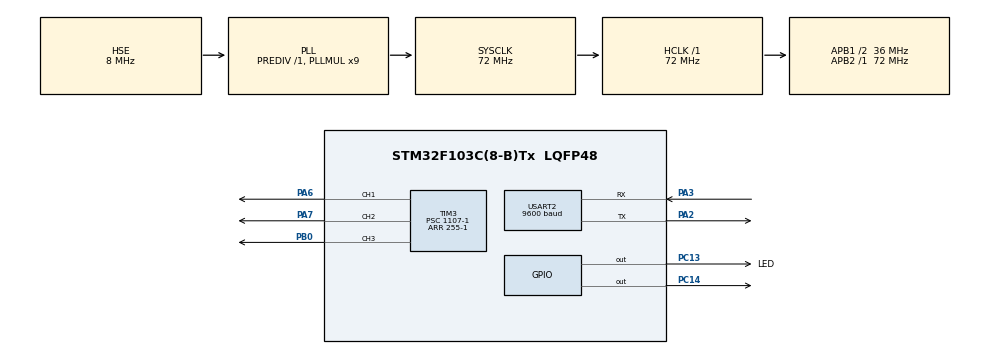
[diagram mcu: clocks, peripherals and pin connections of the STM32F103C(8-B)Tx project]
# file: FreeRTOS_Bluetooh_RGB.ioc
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FREERTOS.Tasks01=defaultTask,24,128,StartDefaultTask,Default,NULL,Dynamic,NULL,NULL;my_RGB_Task,8,128,Start_RGB_Task,Default,NULL,Dynamic,NULL,NULL;my_Bluetooth_Ta,8,128,Start_Bluetooth_Task,Default,NULL,Dynamic,NULL,NULL
Mcu.Family=STM32F1
Mcu.Name=STM32F103C(8-B)Tx
Mcu.Package=LQFP48
NVIC.PriorityGroup=NVIC_PRIORITYGROUP_4
NVIC.TIM4_IRQn=true\:0\:0\:false\:false\:true\:false\:false\:true
NVIC.TimeBase=TIM4_IRQn
NVIC.TimeBaseIP=TIM4
NVIC.USART2_IRQn=true\:5\:0\:false\:false\:true\:true\:true\:true
PA13.Mode=Trace_Asynchronous_SW
PA13.Signal=SYS_JTMS-SWDIO
PA14.Mode=Trace_Asynchronous_SW
PA14.Signal=SYS_JTCK-SWCLK
PA2.Mode=Asynchronous
PA2.Signal=USART2_TX
PA3.Mode=Asynchronous
PA3.Signal=USART2_RX
PA6.Signal=S_TIM3_CH1
PA7.Signal=S_TIM3_CH2
PB0.Signal=S_TIM3_CH3
PB3.Mode=Trace_Asynchronous_SW
PB3.Signal=SYS_JTDO-TRACESWO
PC13-TAMPER-RTC.GPIO_Label=LED
PC13-TAMPER-RTC.Signal=GPIO_Output
PC14-OSC32_IN.GPIO_Speed=GPIO_SPEED_FREQ_MEDIUM
PC14-OSC32_IN.Signal=GPIO_Output
PD0-OSC_IN.Mode=HSE-External-Oscillator
PD0-OSC_IN.Signal=RCC_OSC_IN
PD1-OSC_OUT.Mode=HSE-External-Oscillator
PD1-OSC_OUT.Signal=RCC_OSC_OUT
ProjectManager.HeapSize=0x200
ProjectManager.StackSize=0x400
ProjectManager.TargetToolchain=STM32CubeIDE
RCC.AHBFreq_Value=72000000
RCC.APB1CLKDivider=RCC_HCLK_DIV2
RCC.APB1Freq_Value=36000000
RCC.APB1TimFreq_Value=72000000
RCC.APB2Freq_Value=72000000
RCC.APB2TimFreq_Value=72000000
RCC.HCLKFreq_Value=72000000
RCC.PLLMUL=RCC_PLL_MUL9
RCC.PLLSourceVirtual=RCC_PLLSOURCE_HSE
RCC.SYSCLKFreq_VALUE=72000000
RCC.SYSCLKSource=RCC_SYSCLKSOURCE_PLLCLK
RCC.USBFreq_Value=72000000
SH.S_TIM3_CH1.0=TIM3_CH1,PWM Generation1 CH1
SH.S_TIM3_CH2.0=TIM3_CH2,PWM Generation2 CH2
SH.S_TIM3_CH3.0=TIM3_CH3,PWM Generation3 CH3
TIM3.Channel-PWM\ Generation1\ CH1=TIM_CHANNEL_1
TIM3.Channel-PWM\ Generation2\ CH2=TIM_CHANNEL_2
TIM3.Channel-PWM\ Generation3\ CH3=TIM_CHANNEL_3
TIM3.Period=255-1
TIM3.Prescaler=1107-1
USART2.BaudRate=9600
USART2.VirtualMode=VM_ASYNC
VP_FREERTOS_VS_CMSIS_V2.Mode=CMSIS_V2
VP_SYS_VS_tim4.Mode=TIM4
VP_TIM3_VS_ClockSourceINT.Mode=Internal
board=custom

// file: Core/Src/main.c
/* USER CODE BEGIN Header */
/**
 ******************************************************************************
 * @file           : main.c
 * @brief          : Main program body
 ******************************************************************************
 * @attention
 *
 * <h2><center>&copy; Copyright (c) 2021 STMicroelectronics.
 * All rights reserved.</center></h2>
 *
 * This software component is licensed by ST under BSD 3-Clause license,
 * the "License"; You may not use this file except in compliance with the
 * License. You may obtain a copy of the License at:
 *                        opensource.org/licenses/BSD-3-Clause
 *
 ******************************************************************************
 */
/* USER CODE END Header */
#include "main.h"
#include "cmsis_os.h"

/* USER CODE BEGIN Includes */
#include <string.h> // Подключим библиотеку для работы со строками.
#include <stdio.h> /* для printf */
int brightness;
#include <stdlib.h> // Что бы не писало предупреждение в 117 строке (перевод из str в int)!
/* USER CODE END Includes */

TIM_HandleTypeDef htim3;

UART_HandleTypeDef huart2;

/* Definitions for defaultTask */
osThreadId_t defaultTaskHandle;
const osThreadAttr_t defaultTask_attributes = { .name = "defaultTask",
		.priority = (osPriority_t) osPriorityNormal, .stack_size = 128 * 4 };
/* Definitions for my_RGB_Task */
osThreadId_t my_RGB_TaskHandle;
const osThreadAttr_t my_RGB_Task_attributes = { .name = "my_RGB_Task",
		.priority = (osPriority_t) osPriorityLow, .stack_size = 128 * 4 };
/* Definitions for my_Bluetooth_Ta */
osThreadId_t my_Bluetooth_TaHandle;
const osThreadAttr_t my_Bluetooth_Ta_attributes = { .name = "my_Bluetooth_Ta",
		.priority = (osPriority_t) osPriorityLow, .stack_size = 128 * 4 };
/* USER CODE BEGIN PV */
/* -------------------for Bluetooth----------------------------*/
char str1[60] = { 0 };  // Создадим строковую переменную

typedef struct USART_prop { // Создадим структуру
	uint8_t usart_buf[60];
	uint8_t usart_cnt;
	uint8_t is_tcp_connect; //статус попытки создать соединение TCP с сервером
	uint8_t is_text; //статус попытки передать текст серверу
} USART_prop_ptr;
USART_prop_ptr usartprop;
//***Добавим гл. переменную для счётчика выводимых в модуль строк, и массив этих самых строк ***//
uint8_t i = 0;
char *str2[] = { "String1\r\n", "String2\r\n", "String3\r\n", "String4\r\n",
		"String5\r\n" };
/* USER CODE END PV */

void SystemClock_Config(void);
static void MX_GPIO_Init(void);
static void MX_USART2_UART_Init(void);
static void MX_TIM3_Init(void);
void StartDefaultTask(void *argument);
void Start_RGB_Task(void *argument);
void Start_Bluetooth_Task(void *argument);

/* USER CODE BEGIN 0 */
/*-----------------------------for prinf--------------------------------------*/
int _write(int file, uint8_t *ptr, int len) {
	for (int DataIdx = 0; DataIdx < len; DataIdx++) {
		ITM_SendChar(*ptr++);
	}
	return len;
}
/*-----------------------------for Bluetooth--------------------------------------*/
/*---------Добавим гл. фун-ю которая передает в USAR все, что приходит!--------*/
void string_parse(char *buf_str) //
{
	HAL_UART_Transmit(&huart2, (uint8_t*) buf_str, strlen(buf_str), 0x1000);
	printf("Get message: %s \n", buf_str);
	/*--------------Кусок кода для отладки! Проверка полученных символов---------*/
	int i;
	for (i = 0;; i++) {
		if (buf_str[i] == '\0') { // Перебираем все символы которые получили!
			break;
		}
		printf(" %3d%s", buf_str[i], ""); // Выводим на печать.
	}
	printf("  - This line in ASCII format with all characters! \n");
	/*---------------------------------------------------------------------------*/
	brightness = atoi(buf_str); // перевод str в число
	printf("brightness = %d \n", brightness);
}
/*------------Теперь добавим гл-й обработчик приёма символа из USART---------------------------------------------*/
void UART2_RxCpltCallback(void) // тут подробно https://youtu.be/S4P-lAa4iFQ?t=547
{
	uint8_t b; // Можно не создавать эту переменную!
	b = str1[0]; // Принимаем один байт и записываем в переменную "b".
	//если вдруг случайно превысим длину буфера
	if (usartprop.usart_cnt > 59) {
		usartprop.usart_cnt = 0; // то, обнуляем счетчик
		HAL_UART_Receive_IT(&huart2, (uint8_t*) str1, 1); // И снова даем команду получать данные из UART.
		return; // Выход из функции.
	}
	usartprop.usart_buf[usartprop.usart_cnt] = b; // Если не превышена длинна буфера то присваевыем данный байт к буферу UART.
	if (b == 0x0A) { // Если встретился символ перевода строки то, считаем, что строка закончилась и передаем ее на обработку.(character : \n, Unicode : U+000A, ASCII : 10, hex : 0x0a): This is simply the '\n'
		usartprop.usart_buf[usartprop.usart_cnt + 1] = 0; // В конец строки передаем "ноль" тем самым обозначим конец строки.
		string_parse((char*) usartprop.usart_buf); // передаем троку в "string_parse"
		usartprop.usart_cnt = 0; // Обнуляем счетчик
		HAL_UART_Receive_IT(&huart2, (uint8_t*) str1, 1); // И снова запускаем UART на прием.
		return;
	}
	usartprop.usart_cnt++; // Если не получили символ перевода строки то, наращиваем счетчик и продолжаем получать строки.
	HAL_UART_Receive_IT(&huart2, (uint8_t*) str1, 1); // Снова команда на примем байта.
}
/*-----------------------------for RGB--------------------------------------*/
void rgb_set(uint8_t red, uint8_t green, uint8_t blue) {
	htim3.Instance->CCR1 = 255 - red; // Если у нас RGB с общим катодом то приведи к такому виду htim2.Instance->CCR1 = red;
	htim3.Instance->CCR2 = 255 - green; // Если у нас RGB с общим катодом то приведи к такому виду htim2.Instance->CCR1 = green;
	htim3.Instance->CCR3 = 255 - blue; // Если у нас RGB с общим катодом то приведи к такому виду htim2.Instance->CCR1 = blue;
}
/* USER CODE END 0 */

int main(void) {

	/* MCU Configuration--------------------------------------------------------*/

	/* Reset of all peripherals, Initializes the Flash interface and the Systick. */
	HAL_Init();

	/* Configure the system clock */
	SystemClock_Config();

	/* Initialize all configured peripherals */
	MX_GPIO_Init();
	MX_USART2_UART_Init();
	MX_TIM3_Init();
	/* USER CODE BEGIN 2 */
	/*-----------------------------for Bluetooth--------------------------------------*/
	//************* Инициируем приём данных в USART, а также запустим наш таймер ***************//
	HAL_UART_Receive_IT(&huart2, (uint8_t*) str1, 1);
	//HAL_TIM_Base_Start_IT(&htim2);
	/*-----------------------------for RGB--------------------------------------*/
	HAL_TIM_PWM_Start(&htim3, TIM_CHANNEL_1);
	HAL_TIM_PWM_Start(&htim3, TIM_CHANNEL_2);
	HAL_TIM_PWM_Start(&htim3, TIM_CHANNEL_3);
	/* USER CODE END 2 */

	/* Init scheduler */
	osKernelInitialize();

	/* Create the thread(s) */
	/* creation of defaultTask */
	defaultTaskHandle = osThreadNew(StartDefaultTask, NULL,
			&defaultTask_attributes);

	/* creation of my_RGB_Task */
	my_RGB_TaskHandle = osThreadNew(Start_RGB_Task, NULL,
			&my_RGB_Task_attributes);

	/* creation of my_Bluetooth_Ta */
	my_Bluetooth_TaHandle = osThreadNew(Start_Bluetooth_Task, NULL,
			&my_Bluetooth_Ta_attributes);

	/* Start scheduler */
	osKernelStart();

	/* We should never get here as control is now taken by the scheduler */
	/* Infinite loop */
	while (1) {

	}
}

void SystemClock_Config(void) {
	RCC_OscInitTypeDef RCC_OscInitStruct = { 0 };
	RCC_ClkInitTypeDef RCC_ClkInitStruct = { 0 };

	/** Initializes the RCC Oscillators according to the specified parameters
	 * in the RCC_OscInitTypeDef structure.
	 */
	RCC_OscInitStruct.OscillatorType = RCC_OSCILLATORTYPE_HSE;
	RCC_OscInitStruct.HSEState = RCC_HSE_ON;
	RCC_OscInitStruct.HSEPredivValue = RCC_HSE_PREDIV_DIV1;
	RCC_OscInitStruct.HSIState = RCC_HSI_ON;
	RCC_OscInitStruct.PLL.PLLState = RCC_PLL_ON;
	RCC_OscInitStruct.PLL.PLLSource = RCC_PLLSOURCE_HSE;
	RCC_OscInitStruct.PLL.PLLMUL = RCC_PLL_MUL9;
	if (HAL_RCC_OscConfig(&RCC_OscInitStruct) != HAL_OK) {
		Error_Handler();
	}
	/** Initializes the CPU, AHB and APB buses clocks
	 */
	RCC_ClkInitStruct.ClockType = RCC_CLOCKTYPE_HCLK | RCC_CLOCKTYPE_SYSCLK
			| RCC_CLOCKTYPE_PCLK1 | RCC_CLOCKTYPE_PCLK2;
	RCC_ClkInitStruct.SYSCLKSource = RCC_SYSCLKSOURCE_PLLCLK;
	RCC_ClkInitStruct.AHBCLKDivider = RCC_SYSCLK_DIV1;
	RCC_ClkInitStruct.APB1CLKDivider = RCC_HCLK_DIV2;
	RCC_ClkInitStruct.APB2CLKDivider = RCC_HCLK_DIV1;

	if (HAL_RCC_ClockConfig(&RCC_ClkInitStruct, FLASH_LATENCY_2) != HAL_OK) {
		Error_Handler();
	}
}

static void MX_TIM3_Init(void) {

	TIM_ClockConfigTypeDef sClockSourceConfig = { 0 };
	TIM_MasterConfigTypeDef sMasterConfig = { 0 };
	TIM_OC_InitTypeDef sConfigOC = { 0 };

	htim3.Instance = TIM3;
	htim3.Init.Prescaler = 1107 - 1;
	htim3.Init.CounterMode = TIM_COUNTERMODE_UP;
	htim3.Init.Period = 255 - 1;
	htim3.Init.ClockDivision = TIM_CLOCKDIVISION_DIV1;
	htim3.Init.AutoReloadPreload = TIM_AUTORELOAD_PRELOAD_DISABLE;
	if (HAL_TIM_Base_Init(&htim3) != HAL_OK) {
		Error_Handler();
	}
	sClockSourceConfig.ClockSource = TIM_CLOCKSOURCE_INTERNAL;
	if (HAL_TIM_ConfigClockSource(&htim3, &sClockSourceConfig) != HAL_OK) {
		Error_Handler();
	}
	if (HAL_TIM_PWM_Init(&htim3) != HAL_OK) {
		Error_Handler();
	}
	sMasterConfig.MasterOutputTrigger = TIM_TRGO_RESET;
	sMasterConfig.MasterSlaveMode = TIM_MASTERSLAVEMODE_DISABLE;
	if (HAL_TIMEx_MasterConfigSynchronization(&htim3, &sMasterConfig)
			!= HAL_OK) {
		Error_Handler();
	}
	sConfigOC.OCMode = TIM_OCMODE_PWM1;
	sConfigOC.Pulse = 0;
	sConfigOC.OCPolarity = TIM_OCPOLARITY_HIGH;
	sConfigOC.OCFastMode = TIM_OCFAST_DISABLE;
	if (HAL_TIM_PWM_ConfigChannel(&htim3, &sConfigOC, TIM_CHANNEL_1)
			!= HAL_OK) {
		Error_Handler();
	}
	if (HAL_TIM_PWM_ConfigChannel(&htim3, &sConfigOC, TIM_CHANNEL_2)
			!= HAL_OK) {
		Error_Handler();
	}
	if (HAL_TIM_PWM_ConfigChannel(&htim3, &sConfigOC, TIM_CHANNEL_3)
			!= HAL_OK) {
		Error_Handler();
	}
	HAL_TIM_MspPostInit(&htim3);

}

static void MX_USART2_UART_Init(void) {

	huart2.Instance = USART2;
	huart2.Init.BaudRate = 9600;
	huart2.Init.WordLength = UART_WORDLENGTH_8B;
	huart2.Init.StopBits = UART_STOPBITS_1;
	huart2.Init.Parity = UART_PARITY_NONE;
	huart2.Init.Mode = UART_MODE_TX_RX;
	huart2.Init.HwFlowCtl = UART_HWCONTROL_NONE;
	huart2.Init.OverSampling = UART_OVERSAMPLING_16;
	if (HAL_UART_Init(&huart2) != HAL_OK) {
		Error_Handler();
	}

}

static void MX_GPIO_Init(void) {
	GPIO_InitTypeDef GPIO_InitStruct = { 0 };

	/* GPIO Ports Clock Enable */
	__HAL_RCC_GPIOC_CLK_ENABLE();
	__HAL_RCC_GPIOD_CLK_ENABLE();
	__HAL_RCC_GPIOA_CLK_ENABLE();
	__HAL_RCC_GPIOB_CLK_ENABLE();

	/*Configure GPIO pin Output Level */
	HAL_GPIO_WritePin(GPIOC, LED_Pin | GPIO_PIN_14, GPIO_PIN_RESET);

	/*Configure GPIO pin : LED_Pin */
	GPIO_InitStruct.Pin = LED_Pin;
	GPIO_InitStruct.Mode = GPIO_MODE_OUTPUT_PP;
	GPIO_InitStruct.Pull = GPIO_NOPULL;
	GPIO_InitStruct.Speed = GPIO_SPEED_FREQ_LOW;
	HAL_GPIO_Init(LED_GPIO_Port, &GPIO_InitStruct);

	/*Configure GPIO pin : PC14 */
	GPIO_InitStruct.Pin = GPIO_PIN_14;
	GPIO_InitStruct.Mode = GPIO_MODE_OUTPUT_PP;
	GPIO_InitStruct.Pull = GPIO_NOPULL;
	GPIO_InitStruct.Speed = GPIO_SPEED_FREQ_MEDIUM;
	HAL_GPIO_Init(GPIOC, &GPIO_InitStruct);

}

/* USER CODE BEGIN 4 */
/*-----------------------------for Bluetooth--------------------------------------*/
/***Добавим оф. обработчик приёма из USART, в котором вызовем наш "самодельный" обработчик***/
void HAL_UART_RxCpltCallback(UART_HandleTypeDef *huart) {
	if (huart == &huart2) { // Проверка, точно ли данные со 2-го UART?
		UART2_RxCpltCallback(); // Вызов обработчика.
	}
}
/* USER CODE END 4 */

void StartDefaultTask(void *argument) {
	for (;;) {
		osDelay(1);
	}
}

void Start_RGB_Task(void *argument) {
	/* USER CODE BEGIN Start_RGB_Task */
	/* Infinite loop */
	for (;;) {
		rgb_set(brightness, 0, 0); // red only. Для увеличения/уменьшения яркости LED меняй значения в скобках!
		osDelay(100);
		/*
		 rgb_set(0, brightness, 0);   // green only
		 osDelay(3000);

		 rgb_set(0, 0, brightness);   // blue only
		 osDelay(3000);
		 */
	}
	/* USER CODE END Start_RGB_Task */
}

void Start_Bluetooth_Task(void *argument) {
	/* USER CODE BEGIN Start_Bluetooth_Task */
	/* Infinite loop */
	for (;;) {
		HAL_GPIO_TogglePin(GPIOC, GPIO_PIN_13); // Морагаем светодиодом
		HAL_UART_Transmit(&huart2, (uint8_t*) str2[i], strlen(str2[i]), 0x1000);
		i++;
		if (i > 4) {
			i = 0;
		}
		osDelay(3000);
	}
	/* USER CODE END Start_Bluetooth_Task */
}

void HAL_TIM_PeriodElapsedCallback(TIM_HandleTypeDef *htim) {
	if (htim->Instance == TIM4) {
		HAL_IncTick();
	}
}

void Error_Handler(void) {
	__disable_irq();
	while (1) {
	}
}

/************************ (C) COPYRIGHT STMicroelectronics *****END OF FILE****/
